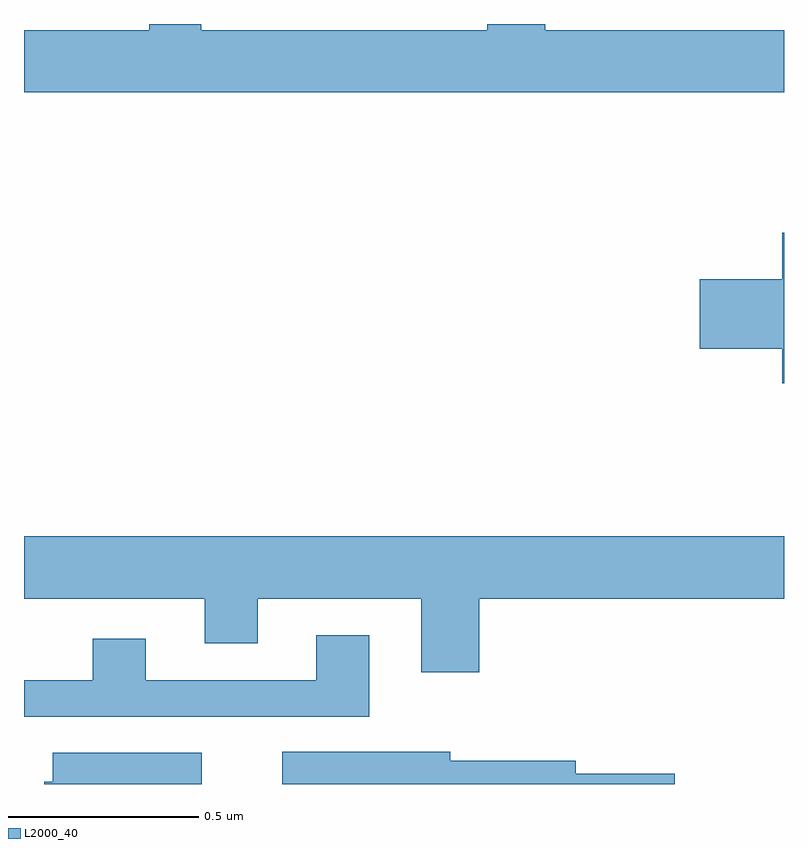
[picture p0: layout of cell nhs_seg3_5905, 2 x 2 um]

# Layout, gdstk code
import gdstk
lib = gdstk.Library(unit=1e-6, precision=1e-09)
def P(c, l, *ps):  # polygons
    for p in ps: c.add(gdstk.Polygon(p, *l))
L2000_40 = (2000, 40)

nhs_seg3_5905 = lib.new_cell('nhs_seg3_5905')
P(nhs_seg3_5905, L2000_40, [(186,730.384),(185.372,730.384),(185.372,730.4),(185.219,730.4),(185.219,730.384),(184.467,730.384),(184.467,730.4),(184.329,730.4),(184.329,730.384),(184,730.384),(184,730.22),(186,730.22)],
  [(186,729.851),(185.996,729.851),(185.996,729.728),(185.778,729.728),(185.778,729.545),(185.996,729.545),(185.996,729.454),(186,729.454)],
  [(185.198,728.888),(186,728.888),(186,729.052),(184,729.052),(184,728.888),(184.475,728.888),(184.475,728.771),(184.615,728.771),(184.615,728.888),(185.045,728.888),(185.045,728.694),(185.198,728.694)],
  [(184.909,728.791),(184.769,728.791),(184.769,728.673),(184.321,728.673),(184.321,728.782),(184.181,728.782),(184.181,728.673),(184,728.673),(184,728.577),(184.909,728.577)],
  [(185.713,728.427),(185.452,728.427),(185.452,728.461),(185.122,728.461),(185.122,728.485),(184.679,728.485),(184.679,728.4),(185.713,728.4)],
  [(184.468,728.482),(184.076,728.482),(184.076,728.406),(184.053,728.406),(184.053,728.4),(184.468,728.4)])

lib.write_gds('nhs_seg3_5905.gds')
